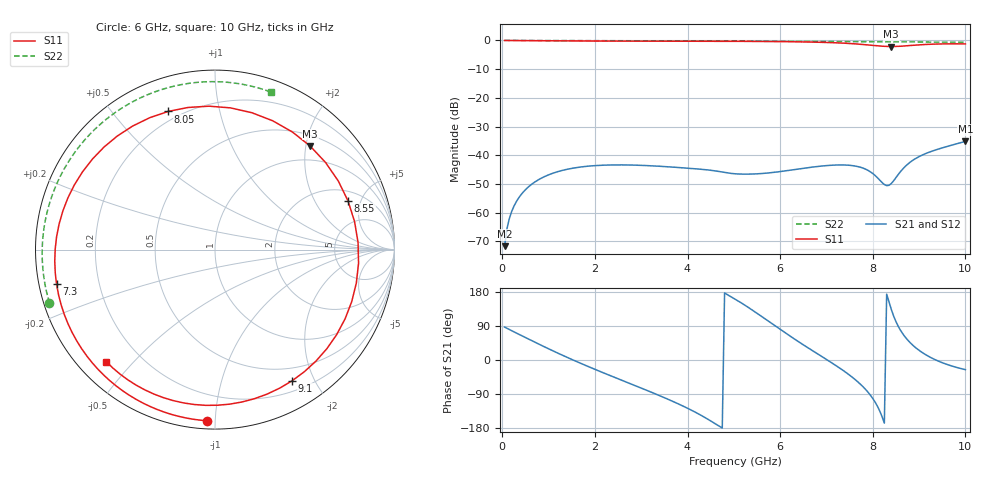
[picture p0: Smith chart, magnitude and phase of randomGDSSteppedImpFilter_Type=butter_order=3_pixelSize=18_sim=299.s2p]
! freq	dB(S11)	phase(S11)	dB(S12)	phase(S12)
!  dB(S21)	phase(S21)	dB(S22)	phase(S22)
!S-par simulation data
#  GHz  S  DB  R 50
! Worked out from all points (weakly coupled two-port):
!   200 points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, 50 MHz to 10 GHz, reference 50 ohm
!   highest |S21| = -35.13 dB at 10 GHz (marker M1); lowest = -71.6 dB at 50 MHz (marker M2)
!   lowest |S11| = -2.1 dB at 8.4 GHz (marker M3), VSWR 8.24, Z = 34.8 + j104 ohm
!   |S11| at or under -10 dB: nowhere
!   |S22| runs from -0.6 to 0.0 dB; largest |S21 - S12| = 0
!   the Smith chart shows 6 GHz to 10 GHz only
!   S11 on the Smith chart (normalised r, x): 6 GHz: 0.04, -0.96; 7.3 GHz: 0.05, -0.11; 8.05 GHz: 0.16, +0.71; 8.55 GHz: 2.68, +3.86; 9.1 GHz: 0.33, -1.70; 10 GHz: 0.08, -0.42
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0.05  -0.01 -4.8  -71.63 86.8  -71.63 86.8  -0.00 -1.5
0.15  -0.02 -14.3  -62.13 80.5  -62.13 80.5  -0.01 -4.5
0.3  -0.04 -28.4  -56.22 71.3  -56.22 71.3  -0.01 -8.9
0.9  -0.11 -84.4  -47.49 35.3  -47.49 35.3  -0.03 -26.4
1.3  -0.15 -121.2  -45.23 12.5  -45.23 12.5  -0.05 -37.9
1.75  -0.19 -162.2  -43.95 -11.8  -43.95 -11.8  -0.06 -50.7
2.15  -0.22 162.0  -43.45 -32.2  -43.45 -32.2  -0.08 -61.8
2.65  -0.24 118.4  -43.34 -56.9  -43.34 -56.9  -0.10 -75.4
3.4  -0.26 58.1  -43.81 -94.2  -43.81 -94.2  -0.12 -95.3
4.15  -0.27 6.3  -44.66 -136.6  -44.66 -136.6  -0.16 -114.7
5.05  -0.30 -45.2  -46.45 159.0  -46.45 159.0  -0.21 -137.6
6  -0.40 -92.6  -45.66 80.8  -45.66 80.8  -0.28 -162.1
6.7  -0.57 -128.7  -44.09 24.5  -44.09 24.5  -0.33 179.0
7.3  -0.88 -167.7  -43.34 -22.5  -43.34 -22.5  -0.39 162.0
7.7  -1.29 155.2  -44.00 -60.1  -44.00 -60.1  -0.43 150.1
8.05  -1.80 108.7  -47.02 -111.1  -47.02 -111.1  -0.46 139.3
8.35  -2.11 56.7  -50.44 153.2  -50.44 153.2  -0.49 129.6
8.4  -2.12 47.5  -49.82 133.6  -49.82 133.6  -0.49 127.9
8.55  -2.06 20.1  -46.67 88.8  -46.67 88.8  -0.50 122.9
9.1  -1.44 -59.5  -39.67 17.2  -39.67 17.2  -0.55 103.9
9.5  -1.20 -97.5  -37.40 -7.1  -37.40 -7.1  -0.58 89.3
10  -1.21 -134.2  -35.13 -25.4  -35.13 -25.4  -0.62 70.4
